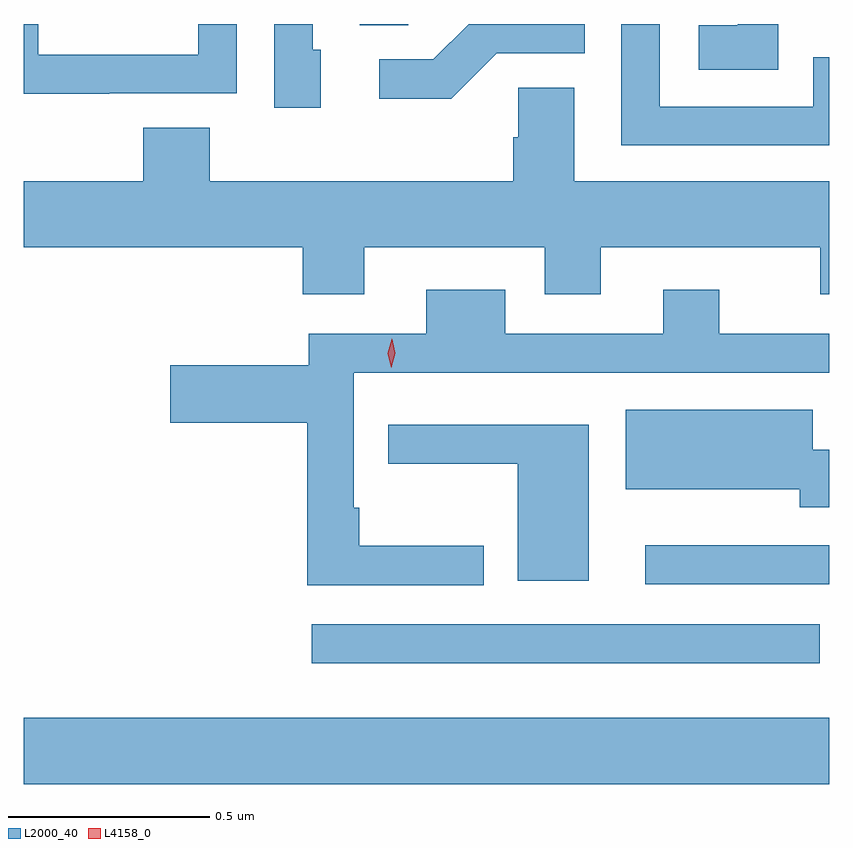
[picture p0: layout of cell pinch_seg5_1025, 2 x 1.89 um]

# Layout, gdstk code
import gdstk
lib = gdstk.Library(unit=1e-6, precision=1e-09)
def R(c, l, rs):  # rectangles x0, y0, x1, y1
    for r in rs: c.add(gdstk.rectangle(r[:2], r[2:], *l))
def P(c, l, *ps):  # polygons
    for p in ps: c.add(gdstk.Polygon(p, *l))
L2000_40 = (2000, 40)
L4158_0 = (4158, 0)

pinch_seg5_1025 = lib.new_cell('pinch_seg5_1025')
R(pinch_seg5_1025, L2000_40, [(733.292,868.748,735.292,868.912), (734.007,869.048,735.268,869.145), (734.126,870.631,734.247,870.634)])
P(pinch_seg5_1025, L2000_40, [(734.466,870.561),(734.685,870.561),(734.685,870.634),(734.397,870.634),(734.309,870.546),(734.175,870.546),(734.175,870.449),(734.353,870.449)],
  [(733.505,870.462),(733.821,870.462),(733.821,870.634),(733.725,870.634),(733.725,870.558),(733.329,870.558),(733.329,870.634),(733.292,870.634),(733.292,870.461),(733.505,870.461)],
  [(734.029,870.57),(734.01,870.57),(734.01,870.634),(733.914,870.634),(733.914,870.426),(734.029,870.426)],
  [(735.292,870.552),(735.252,870.552),(735.252,870.429),(734.871,870.429),(734.871,870.634),(734.775,870.634),(734.775,870.333),(735.292,870.333)],
  [(735.165,870.634),(735.065,870.634),(735.065,870.631),(734.967,870.631),(734.967,870.521),(735.165,870.521)],
  [(734.137,870.08),(734.585,870.08),(734.585,869.963),(734.725,869.963),(734.725,870.08),(735.269,870.08),(735.269,869.963),(735.292,869.963),(735.292,870.244),(734.659,870.244),(734.659,870.476),(734.52,870.476),(734.52,870.353),(734.507,870.353),(734.507,870.244),(733.754,870.244),(733.754,870.377),(733.589,870.377),(733.589,870.244),(733.292,870.244),(733.292,870.08),(733.985,870.08),(733.985,869.963),(734.137,869.963)],
  [(734.434,869.339),(734.125,869.339),(734.125,869.434),(734.112,869.434),(734.112,869.769),(735.292,869.769),(735.292,869.865),(735.019,869.865),(735.019,869.974),(734.879,869.974),(734.879,869.865),(734.488,869.865),(734.488,869.974),(734.291,869.974),(734.291,869.865),(734,869.865),(734,869.787),(733.656,869.787),(733.656,869.645),(733.996,869.645),(733.996,869.241),(734.434,869.241)],
  [(735.292,869.577),(735.25,869.577),(735.25,869.677),(734.786,869.677),(734.786,869.48),(735.218,869.48),(735.218,869.435),(735.292,869.435)],
  [(734.695,869.64),(734.305,869.64),(734.305,869.639),(734.197,869.639),(734.197,869.543),(734.519,869.543),(734.519,869.252),(734.695,869.252)],
  [(735.292,869.34),(735.122,869.34),(735.122,869.341),(734.835,869.341),(734.835,869.244),(735.292,869.244)])
P(pinch_seg5_1025, L4158_0, [(734.204,869.781),(734.196,869.817),(734.206,869.852),(734.206,869.853),(734.207,869.852),(734.215,869.817),(734.205,869.781),(734.205,869.781)])

lib.write_gds('pinch_seg5_1025.gds')
